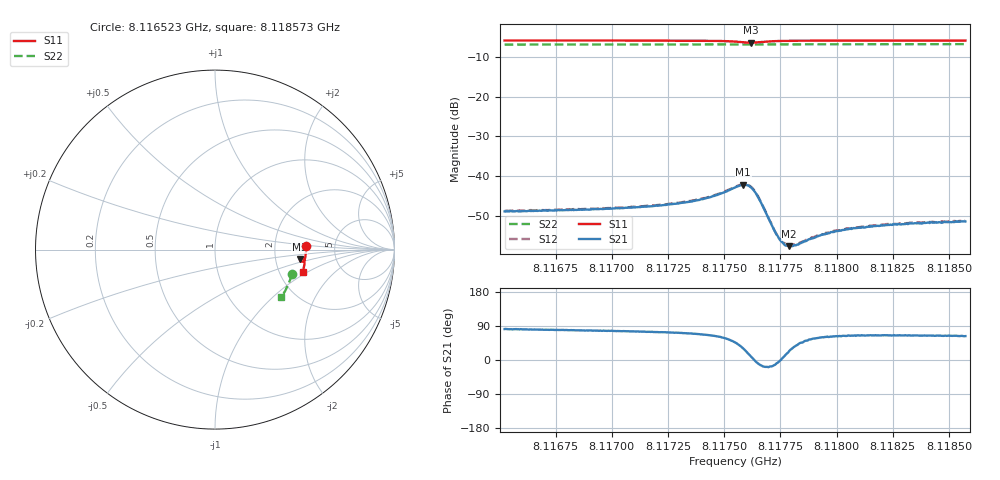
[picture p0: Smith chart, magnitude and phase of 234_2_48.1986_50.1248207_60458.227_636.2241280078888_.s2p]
#  HZ  S  RI  R  50.00
! Rohde & Schwarz Vector Network Analyzer
! Rohde-Schwarz,ZNB20-2Port,1311601062101988,3.16
! Created: UTC 3/20/2024, 11:46:34 AM
! freq[Hz]  re:S11  im:S11  re:S21  im:S21  re:S12  im:S12  re:S22  im:S22
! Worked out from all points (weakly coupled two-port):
!   401 points, 8.116523 GHz to 8.118573 GHz, reference 50 ohm
!   highest |S21| = -42.17 dB at 8.117584 GHz (marker M1); lowest = -57.6 dB at 8.117789 GHz (marker M2)
!   lowest |S11| = -6.5 dB at 8.11762 GHz (marker M3), VSWR 2.82, Z = 138 - j19.5 ohm
!   |S11| at or under -10 dB: nowhere
!   |S22| runs from -6.9 to -6.8 dB; largest |S21 - S12| = 0.00019
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8.1165227e9  0.5066 0.0194  0.000521 0.00357  0.000572 0.0036  0.4281 -0.1373
8.1168662e9  0.5062 -0.007  0.000784 0.0037  0.000833 0.00378  0.4214 -0.16
8.1172096e9  0.5041 -0.0344  0.00123 0.00409  0.00128 0.00417  0.4129 -0.1827
8.1173326e9  0.5023 -0.0453  0.00158 0.00445  0.00164 0.0045  0.4099 -0.1906
8.1174197e9  0.4996 -0.0541  0.00212 0.00486  0.0022 0.0049  0.4072 -0.1963
8.1174864e9  0.4951 -0.0614  0.00303 0.00527  0.00313 0.00531  0.4051 -0.2006
8.1175479e9  0.4861 -0.0673  0.00494 0.00523  0.0051 0.00532  0.4029 -0.2046
8.1175838e9  0.477 -0.0654  0.00667 0.00402  0.00684 0.004  0.4016 -0.2064
8.1176043e9  0.473 -0.0603  0.00727 0.00245  0.00743 0.00242  0.4008 -0.2074
8.1176196e9  0.4726 -0.0549  0.00712 0.00106  0.00725 0.00101  0.4006 -0.2081
8.117635e9  0.4749 -0.0501  0.00644 -0.000149  0.00652 -0.000209  0.4002 -0.2089
8.1176555e9  0.4804 -0.0465  0.00505 -0.00102  0.00512 -0.00109  0.3999 -0.21
8.1177222e9  0.4941 -0.0517  0.00204 -0.000494  0.00206 -0.000519  0.3985 -0.2145
8.1177375e9  0.4954 -0.0538  0.00177 -0.000223  0.00178 -0.000257  0.3982 -0.2154
8.1177632e9  0.4971 -0.0574  0.00142 0.000181  0.00142 0.000184  0.3974 -0.217
8.1177888e9  0.4981 -0.0607  0.00121 0.000525  0.00124 0.000512  0.3967 -0.2188
8.1178247e9  0.4985 -0.0649  0.00107 0.000883  0.00108 0.000891  0.3955 -0.2212
8.1178913e9  0.4988 -0.0718  0.00093 0.00137  0.001 0.00139  0.3936 -0.2254
8.1179374e9  0.4986 -0.0762  0.000915 0.0016  0.000911 0.00163  0.392 -0.2283
8.1180348e9  0.4975 -0.0848  0.000941 0.0019  0.000969 0.00193  0.3887 -0.2342
8.1182347e9  0.4948 -0.1008  0.00103 0.00221  0.00105 0.00225  0.3819 -0.2465
8.118573e9  0.4888 -0.1262  0.00122 0.00241  0.00128 0.00246  0.3693 -0.2666
